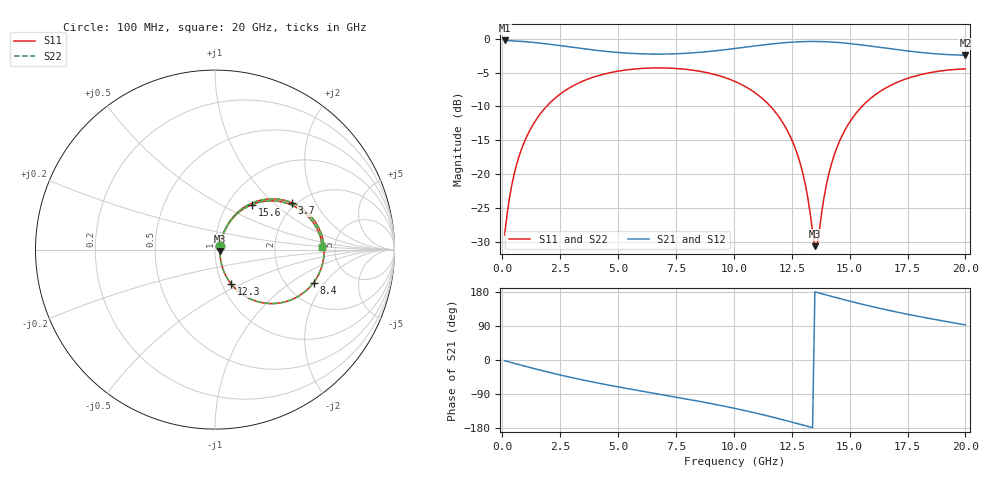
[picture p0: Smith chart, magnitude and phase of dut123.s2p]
! Touchstone file exported from HFSS 2026.1.0
!  File:  C:/ffzhzh/LocalFiles/Ansys_Project_Files/temp_train_TSV_RDL_123_1783048066_36532.aedt
!  Generated:  11:24:04 AM Jul  3, 2026
!  Design:  TSV_RDL
!  Project:  temp_train_TSV_RDL_123_1783048066_36532
! Variables:
!  h_bsmrdl = 2.35um
!  h_ox = 20um
!  h_rdl = 5um
!  h_sub = 50.21um
!  h_tmrdl = 3.18um
!  h_tsv = 50.21um
!  h_via = 3um
!  l_bsmrdl = 991.29um
!  l_sub = 4802.52um
!  l_tmrdl = 318.47um
!  m_sub = 200um
!  pitch = 56.3um
!  r_tsv = 2.66um
!  s_tmrdl = 10um
!  w_bsmrdl = 23.56um
!  w_sub = 500um
!  w_tmrdl = 28.03um
!  x_tsv_center1 = 332.485um
!  x_tsv_center2 = 1347.335um
!  x_tsv_center3 = 1693.835um
!  x_tsv_center4 = 2708.685um
!  x_tsv_center5 = 3055.185um
!  x_tsv_center6 = 4070.035um
# GHz S MA R 50.000000
! Terminal data exported
! Port[1] = TM_RDL1_1_T1
! Port[2] = TM_RDL5_1_T1
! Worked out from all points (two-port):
!   200 points, 100 MHz to 20 GHz, reference 50 ohm
!   highest |S21| = -0.26 dB at 100 MHz (marker M1); lowest = -2.4 dB at 20 GHz (marker M2)
!   |S21| within 3 dB of the highest: start of sweep to end of sweep
!   lowest |S11| = -30.7 dB at 13.5 GHz (marker M3), VSWR 1.06, Z = 52.9 - j0.873 ohm
!   |S11| at or under -10 dB: start of sweep to 1.913 GHz; 11.58 GHz to 15.54 GHz (3.958 GHz wide, 29.2 % of centre)
!   |S22| runs from -30.6 to -4.3 dB; largest |S21 - S12| = 4.2e-14
!   S11 on the Smith chart (normalised r, x): 100 MHz: 1.06, +0.04; 3.7 GHz: 1.90, +1.33; 8.4 GHz: 2.80, -1.55; 12.3 GHz: 1.10, -0.44; 15.6 GHz: 1.29, +0.72; 20 GHz: 3.97, +0.18
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0.1  0.03553 31.4  0.9701 -1.8  0.9701 -1.8  0.03553 31.4
! Gamma 0 0 0 0
! Port Impedance 50 0 50 0
0.5  0.09804 61.9  0.9629 -8.6  0.9629 -8.6  0.09805 61.9
1.2  0.212 60.7  0.9432 -19.9  0.9432 -19.9  0.212 60.7
2.2  0.3537 49.4  0.9022 -35.2  0.9022 -35.2  0.3537 49.4
3.5  0.4874 33.5  0.8428 -53.0  0.8428 -53.0  0.4874 33.5
3.7  0.5029 31.2  0.8344 -55.5  0.8344 -55.5  0.5029 31.2
5.3  0.5859 13.5  0.7838 -74.3  0.7838 -74.3  0.5858 13.5
6.8  0.6081 -1.9  0.7688 -90.4  0.7688 -90.4  0.6081 -1.9
8.4  0.5791 -18.6  0.7896 -107.9  0.7896 -107.9  0.5791 -18.6
10.1  0.4786 -37.9  0.8481 -128.4  0.8481 -128.4  0.4786 -37.9
11.4  0.34 -54.2  0.9047 -146.6  0.9047 -146.6  0.34 -54.2
12.3  0.2111 -64.9  0.9371 -160.6  0.9371 -160.6  0.211 -64.8
13  0.09792 -66.9  0.9514 -172.0  0.9514 -172.0  0.0979 -66.8
13.4  0.03764 -41.2  0.9537 -178.6  0.9537 -178.6  0.03765 -41.1
13.5  0.02932 -16.3  0.9536 179.7  0.9536 179.7  0.02936 -16.2
13.6  0.03009 16.0  0.9531 178.1  0.9531 178.1  0.03016 16.0
14  0.08386 60.3  0.9487 171.4  0.9487 171.4  0.08392 60.3
14.4  0.1486 62.7  0.94 164.9  0.94 164.9  0.1486 62.7
15.6  0.3244 50.6  0.8954 146.3  0.8954 146.3  0.3245 50.6
16.7  0.4455 37.1  0.8451 130.9  0.8451 130.9  0.4456 37.1
18.4  0.558 17.9  0.7815 110.1  0.7815 110.1  0.558 17.9
20  0.598 1.4  0.7543 92.6  0.7543 92.6  0.5981 1.4
